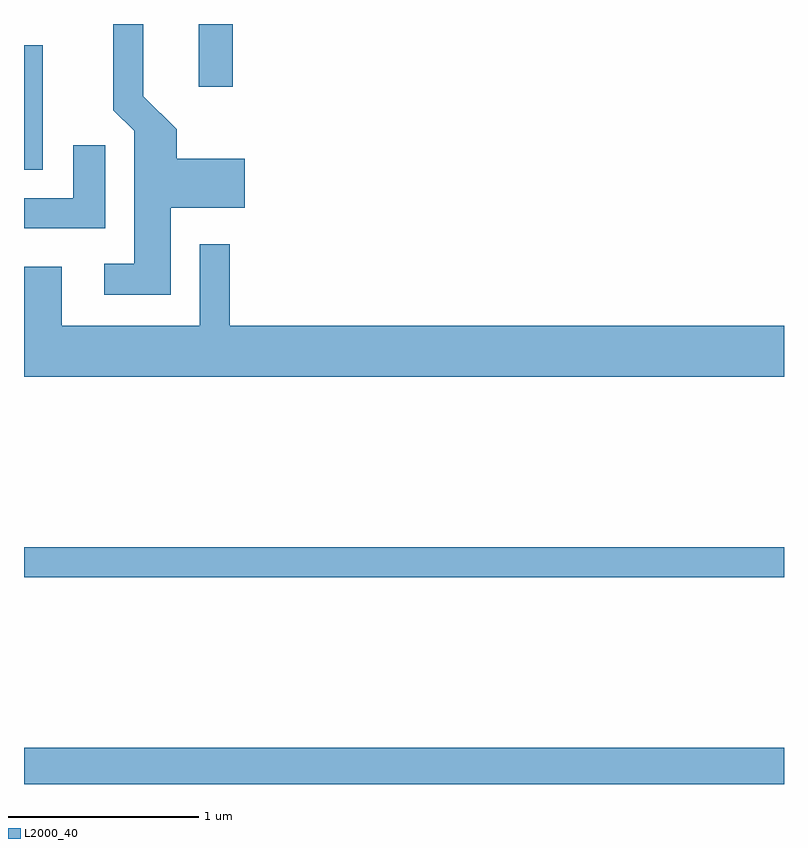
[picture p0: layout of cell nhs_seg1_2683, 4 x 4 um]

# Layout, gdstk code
import gdstk
lib = gdstk.Library(unit=1e-6, precision=1e-09)
def R(c, l, rs):  # rectangles x0, y0, x1, y1
    for r in rs: c.add(gdstk.rectangle(r[:2], r[2:], *l))
def P(c, l, *ps):  # polygons
    for p in ps: c.add(gdstk.Polygon(p, *l))
L2000_40 = (2000, 40)

nhs_seg1_2683 = lib.new_cell('nhs_seg1_2683')
R(nhs_seg1_2683, L2000_40, [(267.611,839.712,271.611,839.904), (267.611,840.801,271.611,840.959), (267.611,842.946,267.709,843.599), (268.531,843.381,268.709,843.712)])
P(nhs_seg1_2683, L2000_40, [(268.384,842.746),(268.774,842.746),(268.774,843.004),(268.414,843.004),(268.414,843.157),(268.239,843.332),(268.239,843.712),(268.081,843.712),(268.081,843.259),(268.191,843.149),(268.191,842.449),(268.033,842.449),(268.033,842.286),(268.384,842.286)],
  [(268.039,843.073),(267.871,843.073),(267.871,842.794),(267.611,842.794),(267.611,842.636),(268.039,842.636)],
  [(271.611,842.124),(268.694,842.124),(268.694,842.553),(268.536,842.553),(268.536,842.124),(267.809,842.124),(267.809,842.434),(267.611,842.434),(267.611,841.856),(271.611,841.856)])

lib.write_gds('nhs_seg1_2683.gds')
